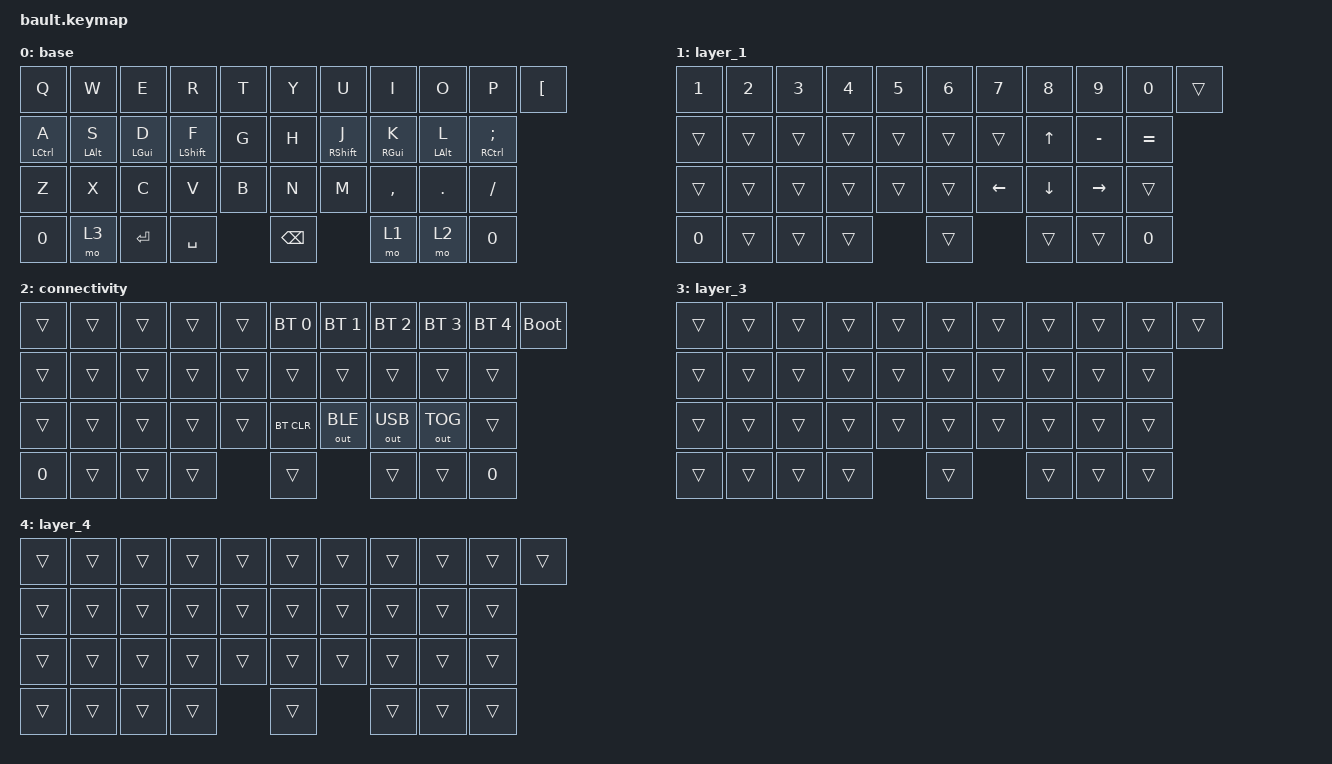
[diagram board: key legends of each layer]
#include <behaviors.dtsi>
#include <dt-bindings/zmk/bt.h>
#include <dt-bindings/zmk/keys.h>
#include <dt-bindings/zmk/outputs.h>

/ {
    behaviors {
        hm: homerow_mods {
            compatible = "zmk,behavior-hold-tap";
            display-name = "Homerow Mods";
            bindings = <&kp>, <&kp>;

            #binding-cells = <2>;
            tapping-term-ms = <200>;
            quick-tap-ms = <180>;
            require-prior-idle-ms = <0>;
            flavor = "tap-preferred";
        };
    };

    combos {
        compatible = "zmk,combos";

        Esc {
            bindings = <&kp ESCAPE>;
            key-positions = <0 1>;
        };
    };

    keymap {
        compatible = "zmk,keymap";

        base {
            bindings = <
&kp Q               &kp W           &kp E       &kp R             &kp T  &kp Y          &kp U              &kp I            &kp O           &kp P                &kp LEFT_BRACKET
&hm LEFT_CONTROL A  &hm LEFT_ALT S  &hm LGUI D  &hm LEFT_SHIFT F  &kp G  &kp H          &hm RIGHT_SHIFT J  &hm RIGHT_GUI K  &hm LEFT_ALT L  &hm RCTRL SEMICOLON
&kp Z               &kp X           &kp C       &kp V             &kp B  &kp N          &kp M              &kp COMMA        &kp PERIOD      &kp SLASH
&kp N0              &mo 3           &kp ENTER   &kp SPACE                &kp BACKSPACE                     &mo 1            &mo 2           &kp N0
            >;
        };

        layer_1 {
            bindings = <
&kp N1  &kp N2  &kp N3  &kp N4  &kp N5  &kp N6  &kp N7    &kp N8    &kp N9     &kp N0     &trans
&trans  &trans  &trans  &trans  &trans  &trans  &trans    &kp UP    &kp MINUS  &kp EQUAL
&trans  &trans  &trans  &trans  &trans  &trans  &kp LEFT  &kp DOWN  &kp RIGHT  &trans
&kp N0  &trans  &trans  &trans          &trans            &trans    &trans     &kp N0
            >;
        };

        connectivity {
            bindings = <
&trans  &trans  &trans  &trans  &trans  &bt BT_SEL 0  &bt BT_SEL 1  &bt BT_SEL 2  &bt BT_SEL 3  &bt BT_SEL 4  &bootloader
&trans  &trans  &trans  &trans  &trans  &trans        &trans        &trans        &trans        &trans
&trans  &trans  &trans  &trans  &trans  &bt BT_CLR    &out OUT_BLE  &out OUT_USB  &out OUT_TOG  &trans
&kp N0  &trans  &trans  &trans          &trans                      &trans        &trans        &kp N0
            >;
        };

        layer_3 {
            bindings = <
&trans  &trans  &trans  &trans  &trans  &trans  &trans  &trans  &trans  &trans  &trans
&trans  &trans  &trans  &trans  &trans  &trans  &trans  &trans  &trans  &trans
&trans  &trans  &trans  &trans  &trans  &trans  &trans  &trans  &trans  &trans
&trans  &trans  &trans  &trans          &trans          &trans  &trans  &trans
            >;
        };

        layer_4 {
            bindings = <
&trans  &trans  &trans  &trans  &trans  &trans  &trans  &trans  &trans  &trans  &trans
&trans  &trans  &trans  &trans  &trans  &trans  &trans  &trans  &trans  &trans
&trans  &trans  &trans  &trans  &trans  &trans  &trans  &trans  &trans  &trans
&trans  &trans  &trans  &trans          &trans          &trans  &trans  &trans
            >;
        };
    };
};
